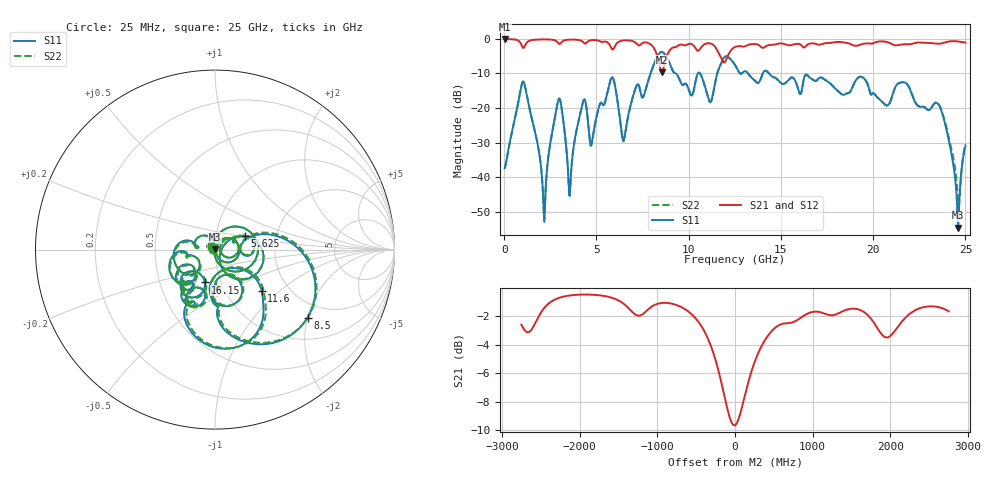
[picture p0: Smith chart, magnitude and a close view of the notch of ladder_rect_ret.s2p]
! RG_s4_pwr_n4_cap2: kisi's ladder with the plane pair as a finite cavity (rect) (Finite board 24 × 16 mm, via L1 → L4 through the GND/PWR pair L2/L3, four GND vias at 1 mm joined to L2 only (openings in the PWR plane L3), a capacitor between L2 and L3 2 mm away)
# Hz S RI R 50
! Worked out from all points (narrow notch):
!   1000 points, 25 MHz to 25 GHz, reference 50 ohm
!   highest |S21| = -0.12 dB at 25 MHz (marker M1); lowest = -9.7 dB at 8.55 GHz (marker M2)
!   notch at M2: 8.3 dB deep, 460 MHz wide at half that depth
!   lowest |S11| = -54.5 dB at 24.6 GHz (marker M3), VSWR 1.00, Z = 49.9 + j0.149 ohm
!   |S11| at or under -10 dB: start of sweep to 7.938 GHz; 9.289 GHz to 10.5 GHz (1.215 GHz wide, 12.3 % of centre); 14.36 GHz to end of sweep (the widest 3 of 6)
!   |S22| runs from -52.3 to -3.9 dB; largest |S21 - S12| = 0
!   S11 on the Smith chart (normalised r, x): 25 MHz: 0.97, +0.00; 5.625 GHz: 1.37, +0.21; 8.5 GHz: 1.56, -2.00; 11.6 GHz: 1.46, -0.77; 16.15 GHz: 0.84, -0.32; 25 GHz: 0.96, +0.03
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2.5e7  -0.0134 0.0017  0.9864 -0.00374  0.9864 -0.00374  -0.0134 0.0017
1e9  0.2316 0.0497  0.7379 -0.1313  0.7379 -0.1313  0.2314 0.0505
2.175e9  -0.00215 0.000746  0.9593 -0.1765  0.9593 -0.1765  -0.00229 0.000767
2.925e9  0.1212 0.0387  0.8229 -0.2746  0.8229 -0.2746  0.1206 0.04
3.55e9  0.00542 0.000274  0.9257 -0.2842  0.9257 -0.2842  0.00509 0.000465
4.2e9  0.0784 0.0649  0.8362 -0.3997  0.8362 -0.3997  0.077 0.0663
4.725e9  0.0286 0.00636  0.8708 -0.3796  0.8708 -0.3796  0.0279 0.0071
5.625e9  0.1646 0.0755  0.7043 -0.5172  0.7043 -0.5172  0.1624 0.0792
5.95e9  0.1904 -0.1603  0.6609 -0.3019  0.6609 -0.3019  0.1931 -0.1559
6.475e9  0.0333 -0.00757  0.8039 -0.4907  0.8039 -0.4907  0.0326 -0.00624
8.35e9  0.5568 -0.174  0.1864 -0.4591  0.1864 -0.4591  0.5612 -0.157
8.5e9  0.5155 -0.3795  0.2146 -0.263  0.2146 -0.263  0.526 -0.3636
8.55e9  0.4702 -0.4379  0.2554 -0.2072  0.2554 -0.2072  0.4824 -0.4234
1.115e10  0.0364 -0.1186  0.561 -0.6466  0.561 -0.6466  0.0393 -0.1154
1.16e10  0.2604 -0.2313  0.2997 -0.5654  0.2997 -0.5654  0.2683 -0.2193
1.2525e10  -0.1704 -0.3753  0.6246 -0.4322  0.6246 -0.4322  -0.1565 -0.3807
1.615e10  -0.0566 -0.1828  0.3695 -0.6908  0.3695 -0.6908  -0.0485 -0.1827
1.6675e10  -0.1867 -0.1837  0.4403 -0.7333  0.4403 -0.7333  -0.1784 -0.1905
2.085e10  -0.0865 -0.0732  0.0803 -0.8742  0.0803 -0.8742  -0.0821 -0.075
2.355e10  -0.084 0.0738  -0.0297 -0.8443  -0.0297 -0.8443  -0.0901 0.0706
2.46e10  -0.00114 0.0015  -0.1624 -0.8969  -0.1624 -0.8969  -0.00125 0.00468
2.5e10  -0.0216 0.0179  -0.1906 -0.8559  -0.1906 -0.8559  -0.0231 0.0191
